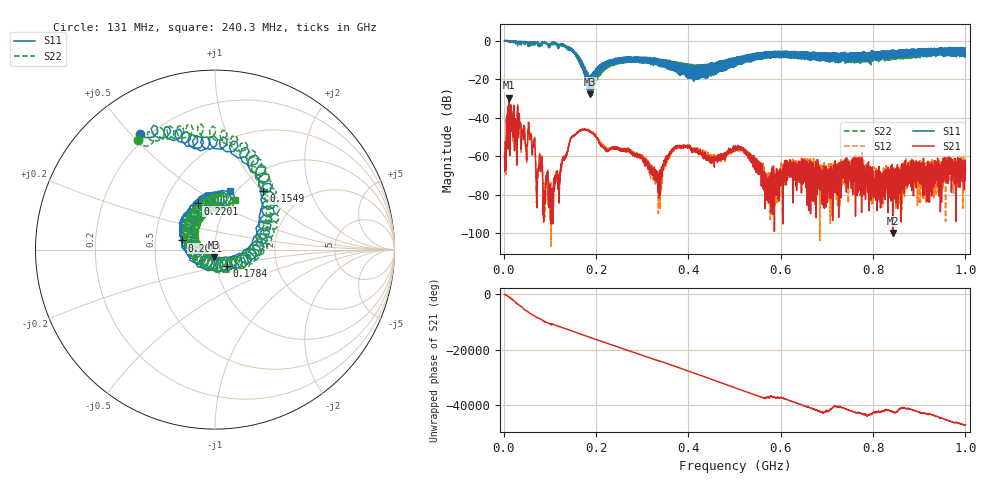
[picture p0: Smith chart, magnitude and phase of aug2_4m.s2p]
!Keysight Technologies N9923A: A.12.45
!Date: Saturday, 02 August 2025 18:36:50
!Timezone: (UTC+08:00) Kuala Lumpur, Singapore
!Model: N9923A
!Serial: MY61181427
!GPS Latitude:
!GPS Longitude:
!GPS TimeStamp: 0001-01-01 00:00:00Z
!GPS Seconds Since Last Read: 0
!CHECKSUM:1893497627
!Correction: S11(ON U)S21(ON U)S12(ON U)S22(ON U)
!S2P File: Measurements:S11,S21,S12,S22:
# Hz S DB R 50
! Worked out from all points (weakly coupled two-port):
!   4001 points, 2 MHz to 1 GHz, reference 50 ohm
!   highest |S21| = -29.67 dB at 11.73 MHz (marker M1); lowest = -99.7 dB at 842.6 MHz (marker M2)
!   lowest |S11| = -27.8 dB at 186.1 MHz (marker M3), VSWR 1.09, Z = 49.2 - j3.99 ohm
!   |S11| at or under -10 dB: 165.7 MHz to 230.2 MHz (64.51 MHz wide, 32.6 % of centre); 339.4 MHz to 342.6 MHz (3.165 MHz wide, 0.928 % of centre); 346.1 MHz to 484.7 MHz (138.6 MHz wide, 33.4 % of centre) (the widest 3 of 182)
!   |S22| runs from -28.5 to 0.1 dB; largest |S21 - S12| = 0.0047
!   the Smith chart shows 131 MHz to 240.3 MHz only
!   S11 on the Smith chart (normalised r, x): 131 MHz: 0.17, +0.53; 154.9 MHz: 1.28, +1.02; 178.4 MHz: 1.12, -0.21; 200.1 MHz: 0.69, +0.07; 220.1 MHz: 0.73, +0.40; 240.3 MHz: 0.94, +0.70
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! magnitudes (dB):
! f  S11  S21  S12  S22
! 2 MHz  -0.1  -58.3  -58.0  -0.1
! 11.73 MHz  -0.4  -29.7  -30.3  -0.3
! 56.39 MHz  -1.6  -50.0  -49.8  -1.0
! 72.61 MHz  -1.7  -72.9  -77.4  -1.1
! 101.8 MHz  -2.1  -78.3  -81.2  -1.7
! 131 MHz  -2.3  -60.7  -60.2  -2.6
! 154.9 MHz  -7.5  -48.8  -48.5  -7.3
! 168.4 MHz  -13.0  -46.5  -46.0  -12.6
! 178.4 MHz  -18.9  -46.3  -46.0  -19.1
! 186.1 MHz  -27.8  -47.2  -46.6  -21.2
! 200.1 MHz  -14.4  -50.0  -49.2  -16.7
! 220.1 MHz  -11.2  -56.4  -55.2  -12.8
! 240.3 MHz  -9.4  -56.0  -55.1  -10.5
! 301.9 MHz  -10.5  -62.1  -60.9  -11.4
! 334.8 MHz  -11.8  -78.7  -72.9  -9.8
! 373.3 MHz  -13.5  -54.8  -56.1  -11.0
! 501 MHz  -11.6  -57.4  -55.8  -11.7
! 575.1 MHz  -6.2  -75.9  -74.5  -8.8
! 667.4 MHz  -6.9  -65.7  -70.7  -9.4
! 833.8 MHz  -6.6  -67.7  -74.6  -7.4
! 842.6 MHz  -5.0  -99.7  -67.6  -9.9
! 1 GHz  -6.7  -68.0  -65.7  -3.5
